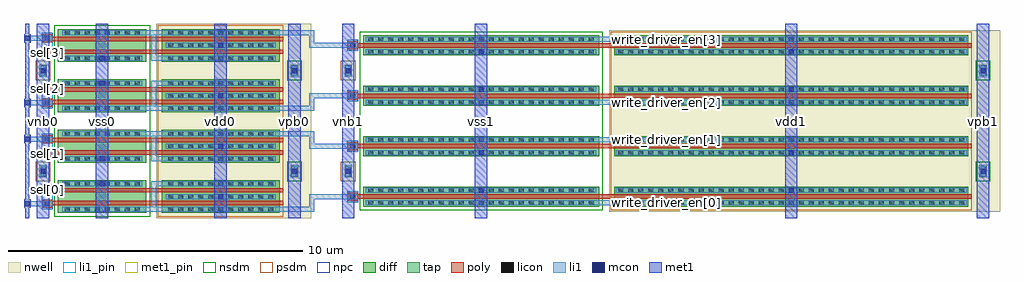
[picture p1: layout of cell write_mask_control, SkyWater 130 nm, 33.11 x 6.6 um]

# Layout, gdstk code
import gdstk
lib = gdstk.Library(unit=1e-6, precision=1e-09)
def R(c, l, rs):  # rectangles x0, y0, x1, y1
    for r in rs: c.add(gdstk.rectangle(r[:2], r[2:], *l))
def A(c, l, x, y, w, h, nx, ny, dx, dy):  # array of equal rectangles
    R(c, l, [(x+i*dx, y+j*dy, x+i*dx+w, y+j*dy+h) for i in range(nx) for j in range(ny)])
nwell = (64, 20)
diff = (65, 20)
tap = (65, 44)
poly = (66, 20)
licon = (66, 44)
li1_pin = (67, 16)
li1 = (67, 20)
mcon = (67, 44)
met1_pin = (68, 16)
met1 = (68, 20)
nsdm = (93, 44)
psdm = (94, 20)
npc = (95, 20)

ntap_1x1v = lib.new_cell('ntap_1x1v')
R(ntap_1x1v, tap, [(-0.04,-0.12,0.21,0.29)])
R(ntap_1x1v, licon, [(0,0,0.17,0.17)])
R(ntap_1x1v, li1, [(0,-0.08,0.17,0.25)])
R(ntap_1x1v, nsdm, [(-0.165,-0.245,0.335,0.415)])

ptap_1x1v = lib.new_cell('ptap_1x1v')
R(ptap_1x1v, tap, [(-0.04,-0.12,0.21,0.29)])
R(ptap_1x1v, licon, [(0,0,0.17,0.17)])
R(ptap_1x1v, li1, [(0,-0.08,0.17,0.25)])
R(ptap_1x1v, psdm, [(-0.165,-0.245,0.335,0.415)])

viali_1x1v = lib.new_cell('viali_1x1v')
R(viali_1x1v, li1, [(0,0,0.17,0.17)])
R(viali_1x1v, mcon, [(0,0,0.17,0.17)])
R(viali_1x1v, met1, [(-0.03,-0.06,0.2,0.23)])

viali_1x1h = lib.new_cell('viali_1x1h')
R(viali_1x1h, li1, [(0,0,0.17,0.17)])
R(viali_1x1h, mcon, [(0,0,0.17,0.17)])
R(viali_1x1h, met1, [(-0.06,-0.03,0.23,0.2)])

write_mask_control_and2_ = lib.new_cell('write_mask_control_and2_array_nand_array_route')
R(write_mask_control_and2_, met1, [(-0.715,-0.18,-0.295,6.42), (1.29,-0.18,1.71,6.42), (5.31,-0.18,5.73,6.42), (7.815,-0.18,8.235,6.42)])
write_mask_control_and2_.add(gdstk.Reference(viali_1x1v, (7.94,1.325)))
write_mask_control_and2_.add(gdstk.Reference(viali_1x1v, (7.94,4.745)))
write_mask_control_and2_.add(gdstk.Reference(viali_1x1v, (-0.59,1.325)))
write_mask_control_and2_.add(gdstk.Reference(viali_1x1v, (-0.59,4.745)))
write_mask_control_and2_.add(gdstk.Reference(viali_1x1h, (5.435,0.47)))
write_mask_control_and2_.add(gdstk.Reference(viali_1x1h, (5.435,2.18)))
write_mask_control_and2_.add(gdstk.Reference(viali_1x1h, (5.435,3.89)))
write_mask_control_and2_.add(gdstk.Reference(viali_1x1h, (5.435,5.6)))
write_mask_control_and2_.add(gdstk.Reference(viali_1x1h, (1.415,0.9)))
write_mask_control_and2_.add(gdstk.Reference(viali_1x1h, (1.415,1.75)))
write_mask_control_and2_.add(gdstk.Reference(viali_1x1h, (1.415,4.32)))
write_mask_control_and2_.add(gdstk.Reference(viali_1x1h, (1.415,5.17)))

polyc_1x1h = lib.new_cell('polyc_1x1h')
R(polyc_1x1h, poly, [(-0.08,-0.05,0.25,0.22)])
R(polyc_1x1h, licon, [(0,0,0.17,0.17)])
R(polyc_1x1h, li1, [(-0.08,0,0.25,0.17)])
R(polyc_1x1h, npc, [(-0.1,-0.1,0.27,0.27)])

ndiffc_1x8h = lib.new_cell('ndiffc_1x8h')
R(ndiffc_1x8h, diff, [(-0.06,-0.04,2.61,0.21)])
A(ndiffc_1x8h, licon, 0, 0, 0.17, 0.17, 8, 1, 0.34, 0)
R(ndiffc_1x8h, li1, [(-0.08,0,2.63,0.17)])
R(ndiffc_1x8h, nsdm, [(-0.185,-0.165,2.735,0.335)])

pdiffc_1x11h = lib.new_cell('pdiffc_1x11h')
R(pdiffc_1x11h, nwell, [(-0.24,-0.22,3.81,0.39)])
R(pdiffc_1x11h, diff, [(-0.06,-0.04,3.63,0.21)])
A(pdiffc_1x11h, licon, 0, 0, 0.17, 0.17, 11, 1, 0.34, 0)
R(pdiffc_1x11h, li1, [(-0.08,0,3.65,0.17)])
R(pdiffc_1x11h, psdm, [(-0.185,-0.165,3.755,0.335)])

ptx__nmos_svt_3000_150_2 = lib.new_cell('ptx__nmos_svt_3000_150_2__pmos_svt_4000_150_2')
R(ptx__nmos_svt_3000_150_2, nwell, [(3.34,-0.18,7.7,1.29)])
R(ptx__nmos_svt_3000_150_2, diff, [(0,0,3,1.11), (3.52,0,7.52,1.11)])
R(ptx__nmos_svt_3000_150_2, poly, [(-0.19,0.265,7.65,0.415), (-0.19,0.695,7.65,0.845)])
R(ptx__nmos_svt_3000_150_2, nsdm, [(-0.125,-0.125,3.125,1.235)])
R(ptx__nmos_svt_3000_150_2, psdm, [(3.395,-0.125,7.645,1.235)])
R(ptx__nmos_svt_3000_150_2, npc, [(-0.54,0.13,-0.17,0.98)])
ptx__nmos_svt_3000_150_2.add(gdstk.Reference(polyc_1x1h, (-0.44,0.23)))
ptx__nmos_svt_3000_150_2.add(gdstk.Reference(polyc_1x1h, (-0.44,0.71)))
ptx__nmos_svt_3000_150_2.add(gdstk.Reference(ndiffc_1x8h, (0.225,0.04)))
ptx__nmos_svt_3000_150_2.add(gdstk.Reference(pdiffc_1x11h, (3.735,0.04)))
ptx__nmos_svt_3000_150_2.add(gdstk.Reference(pdiffc_1x11h, (3.735,0.47)))
ptx__nmos_svt_3000_150_2.add(gdstk.Reference(ndiffc_1x8h, (0.225,0.9)))
ptx__nmos_svt_3000_150_2.add(gdstk.Reference(pdiffc_1x11h, (3.735,0.9)))

c_write_mask_control_and2_ = lib.new_cell('write_mask_control_and2_nand')
R(c_write_mask_control_and2_, li1, [(3.17,0.04,3.34,1.07), (3.17,0.04,7.385,0.21), (0.145,0.9,7.385,1.07)])
c_write_mask_control_and2_.add(gdstk.Reference(ptx__nmos_svt_3000_150_2, (0,0)))

c_write_mask_control_and2__ = lib.new_cell('write_mask_control_and2_array_nand_array_array')
c_write_mask_control_and2__.add(gdstk.Reference(c_write_mask_control_and2_, (0,1.11), x_reflection=True))
c_write_mask_control_and2__.add(gdstk.Reference(c_write_mask_control_and2_, (0,1.71)))
c_write_mask_control_and2__.add(gdstk.Reference(c_write_mask_control_and2_, (0,4.53), x_reflection=True))
c_write_mask_control_and2__.add(gdstk.Reference(c_write_mask_control_and2_, (0,5.13)))

c_write_mask_control_and2___ = lib.new_cell('write_mask_control_and2_array_nand_array')
R(c_write_mask_control_and2___, nwell, [(3.34,-0.18,8.6,6.42)])
R(c_write_mask_control_and2___, met1_pin, [(-0.715,-0.18,-0.295,6.42), (1.29,-0.18,1.71,6.42), (5.31,-0.18,5.73,6.42), (7.815,-0.18,8.235,6.42)])
R(c_write_mask_control_and2___, nsdm, [(-0.125,-0.125,3.125,6.365)])
R(c_write_mask_control_and2___, psdm, [(3.395,-0.125,7.645,6.365)])
c_write_mask_control_and2___.add(gdstk.Reference(ntap_1x1v, (7.94,1.325)))
c_write_mask_control_and2___.add(gdstk.Reference(ntap_1x1v, (7.94,4.745)))
c_write_mask_control_and2___.add(gdstk.Reference(ptap_1x1v, (-0.59,1.325)))
c_write_mask_control_and2___.add(gdstk.Reference(ptap_1x1v, (-0.59,4.745)))
c_write_mask_control_and2___.add(gdstk.Reference(write_mask_control_and2_, (0,0)))
c_write_mask_control_and2___.add(gdstk.Reference(c_write_mask_control_and2__, (0,0)))
c_write_mask_control_and2___.add(gdstk.Label('vpb', (8.025,3.12), layer=68, texttype=16))
c_write_mask_control_and2___.add(gdstk.Label('vnb', (-0.505,3.12), layer=68, texttype=16))
c_write_mask_control_and2___.add(gdstk.Label('vdd', (5.52,3.12), layer=68, texttype=16))
c_write_mask_control_and2___.add(gdstk.Label('vss', (1.5,3.12), layer=68, texttype=16))

c_write_mask_control_and2____ = lib.new_cell('write_mask_control_and2_array_inv_array_route')
R(c_write_mask_control_and2____, met1, [(-0.715,-0.18,-0.295,5.99), (3.79,-0.18,4.21,5.99), (14.31,-0.18,14.73,5.99), (20.815,-0.18,21.235,5.99)])
c_write_mask_control_and2____.add(gdstk.Reference(viali_1x1v, (20.94,1.11)))
c_write_mask_control_and2____.add(gdstk.Reference(viali_1x1v, (20.94,4.53)))
c_write_mask_control_and2____.add(gdstk.Reference(viali_1x1v, (-0.59,1.11)))
c_write_mask_control_and2____.add(gdstk.Reference(viali_1x1v, (-0.59,4.53)))
c_write_mask_control_and2____.add(gdstk.Reference(viali_1x1h, (14.435,0.47)))
c_write_mask_control_and2____.add(gdstk.Reference(viali_1x1h, (14.435,1.75)))
c_write_mask_control_and2____.add(gdstk.Reference(viali_1x1h, (14.435,3.89)))
c_write_mask_control_and2____.add(gdstk.Reference(viali_1x1h, (14.435,5.17)))
c_write_mask_control_and2____.add(gdstk.Reference(viali_1x1h, (3.915,0.47)))
c_write_mask_control_and2____.add(gdstk.Reference(viali_1x1h, (3.915,1.75)))
c_write_mask_control_and2____.add(gdstk.Reference(viali_1x1h, (3.915,3.89)))
c_write_mask_control_and2____.add(gdstk.Reference(viali_1x1h, (3.915,5.17)))

ndiffc_1x23h = lib.new_cell('ndiffc_1x23h')
R(ndiffc_1x23h, diff, [(-0.06,-0.04,7.71,0.21)])
A(ndiffc_1x23h, licon, 0, 0, 0.17, 0.17, 23, 1, 0.34, 0)
R(ndiffc_1x23h, li1, [(-0.08,0,7.73,0.17)])
R(ndiffc_1x23h, nsdm, [(-0.185,-0.165,7.835,0.335)])

pdiffc_1x35h = lib.new_cell('pdiffc_1x35h')
R(pdiffc_1x35h, nwell, [(-0.24,-0.22,11.97,0.39)])
R(pdiffc_1x35h, diff, [(-0.06,-0.04,11.79,0.21)])
A(pdiffc_1x35h, licon, 0, 0, 0.17, 0.17, 35, 1, 0.34, 0)
R(pdiffc_1x35h, li1, [(-0.08,0,11.81,0.17)])
R(pdiffc_1x35h, psdm, [(-0.185,-0.165,11.915,0.335)])

ptx__nmos_svt_8000_150_1 = lib.new_cell('ptx__nmos_svt_8000_150_1__pmos_svt_12000_150_1')
R(ptx__nmos_svt_8000_150_1, nwell, [(8.34,-0.18,20.7,0.86)])
R(ptx__nmos_svt_8000_150_1, diff, [(0,0,8,0.68), (8.52,0,20.52,0.68)])
R(ptx__nmos_svt_8000_150_1, poly, [(-0.19,0.265,20.65,0.415)])
R(ptx__nmos_svt_8000_150_1, nsdm, [(-0.125,-0.125,8.125,0.805)])
R(ptx__nmos_svt_8000_150_1, psdm, [(8.395,-0.125,20.645,0.805)])
R(ptx__nmos_svt_8000_150_1, npc, [(-0.54,0.155,-0.17,0.525)])
ptx__nmos_svt_8000_150_1.add(gdstk.Reference(polyc_1x1h, (-0.44,0.255)))
ptx__nmos_svt_8000_150_1.add(gdstk.Reference(ndiffc_1x23h, (0.175,0.04)))
ptx__nmos_svt_8000_150_1.add(gdstk.Reference(pdiffc_1x35h, (8.655,0.04)))
ptx__nmos_svt_8000_150_1.add(gdstk.Reference(ndiffc_1x23h, (0.175,0.47)))
ptx__nmos_svt_8000_150_1.add(gdstk.Reference(pdiffc_1x35h, (8.655,0.47)))

c_write_mask_control_and2_____ = lib.new_cell('write_mask_control_and2_inv')
R(c_write_mask_control_and2_____, li1, [(0.095,0.47,20.465,0.64)])
c_write_mask_control_and2_____.add(gdstk.Reference(ptx__nmos_svt_8000_150_1, (0,0)))

c_write_mask_control_and2______ = lib.new_cell('write_mask_control_and2_array_inv_array_array')
c_write_mask_control_and2______.add(gdstk.Reference(c_write_mask_control_and2_____, (0,0.68), x_reflection=True))
c_write_mask_control_and2______.add(gdstk.Reference(c_write_mask_control_and2_____, (0,1.71)))
c_write_mask_control_and2______.add(gdstk.Reference(c_write_mask_control_and2_____, (0,4.1), x_reflection=True))
c_write_mask_control_and2______.add(gdstk.Reference(c_write_mask_control_and2_____, (0,5.13)))

c_write_mask_control_and2_______ = lib.new_cell('write_mask_control_and2_array_inv_array')
R(c_write_mask_control_and2_______, nwell, [(8.34,-0.18,21.6,5.99)])
R(c_write_mask_control_and2_______, met1_pin, [(-0.715,-0.18,-0.295,5.99), (3.79,-0.18,4.21,5.99), (14.31,-0.18,14.73,5.99), (20.815,-0.18,21.235,5.99)])
R(c_write_mask_control_and2_______, nsdm, [(-0.125,-0.125,8.125,5.935)])
R(c_write_mask_control_and2_______, psdm, [(8.395,-0.125,20.645,5.935)])
c_write_mask_control_and2_______.add(gdstk.Reference(ntap_1x1v, (20.94,1.11)))
c_write_mask_control_and2_______.add(gdstk.Reference(ntap_1x1v, (20.94,4.53)))
c_write_mask_control_and2_______.add(gdstk.Reference(ptap_1x1v, (-0.59,1.11)))
c_write_mask_control_and2_______.add(gdstk.Reference(ptap_1x1v, (-0.59,4.53)))
c_write_mask_control_and2_______.add(gdstk.Reference(c_write_mask_control_and2____, (0,0)))
c_write_mask_control_and2_______.add(gdstk.Reference(c_write_mask_control_and2______, (0,0)))
c_write_mask_control_and2_______.add(gdstk.Label('vpb', (21.025,2.905), layer=68, texttype=16))
c_write_mask_control_and2_______.add(gdstk.Label('vnb', (-0.505,2.905), layer=68, texttype=16))
c_write_mask_control_and2_______.add(gdstk.Label('vdd', (14.52,2.905), layer=68, texttype=16))
c_write_mask_control_and2_______.add(gdstk.Label('vss', (4,2.905), layer=68, texttype=16))

c_write_mask_control_and2________ = lib.new_cell('write_mask_control_and2_array_route')
A(c_write_mask_control_and2________, li1, 8.695, 0.47, 1.14, 0.17, 1, 4, 0, 1.71)
R(c_write_mask_control_and2________, li1, [(0.145,0.04,7.385,0.21), (7.385,0.04,8.525,0.21), (8.525,0.04,8.695,0.64), (8.525,2.18,8.695,2.78), (0.145,2.61,7.385,2.78), (7.385,2.61,8.525,2.78), (0.145,3.46,7.385,3.63), (7.385,3.46,8.525,3.63), (8.525,3.46,8.695,4.06), (8.525,5.6,8.695,6.2), (0.145,6.03,7.385,6.2), (7.385,6.03,8.525,6.2)])

c_write_mask_control_and2_________ = lib.new_cell('write_mask_control_and2_array')
R(c_write_mask_control_and2_________, li1_pin, [(0.145,0.04,7.385,0.21), (-0.52,0.23,-0.19,0.4), (10.45,0.255,30.82,0.425), (-0.52,0.71,-0.19,0.88), (-0.52,1.94,-0.19,2.11), (10.45,2.395,30.82,2.565), (-0.52,2.42,-0.19,2.59), (0.145,2.61,7.385,2.78), (0.145,3.46,7.385,3.63), (-0.52,3.65,-0.19,3.82), (10.45,3.675,30.82,3.845), (-0.52,4.13,-0.19,4.3), (-0.52,5.36,-0.19,5.53), (10.45,5.815,30.82,5.985), (-0.52,5.84,-0.19,6.01), (0.145,6.03,7.385,6.2)])
R(c_write_mask_control_and2_________, met1_pin, [(-0.715,-0.18,-0.295,6.42), (1.29,-0.18,1.71,6.42), (5.31,-0.18,5.73,6.42), (7.815,-0.18,8.235,6.42), (9.64,0.035,10.06,6.205), (14.145,0.035,14.565,6.205), (24.665,0.035,25.085,6.205), (31.17,0.035,31.59,6.205)])
c_write_mask_control_and2_________.add(gdstk.Reference(c_write_mask_control_and2___, (0,0)))
c_write_mask_control_and2_________.add(gdstk.Reference(c_write_mask_control_and2_______, (10.355,0.215)))
c_write_mask_control_and2_________.add(gdstk.Reference(c_write_mask_control_and2________, (0,0)))
c_write_mask_control_and2_________.add(gdstk.Label('a[0]', (-0.355,0.795), layer=67, texttype=16))
c_write_mask_control_and2_________.add(gdstk.Label('b[0]', (-0.355,0.315), layer=67, texttype=16))
c_write_mask_control_and2_________.add(gdstk.Label('y_b[0]', (3.765,0.125), layer=67, texttype=16))
c_write_mask_control_and2_________.add(gdstk.Label('y[0]', (20.635,0.34), layer=67, texttype=16))
c_write_mask_control_and2_________.add(gdstk.Label('a[1]', (-0.355,2.025), layer=67, texttype=16))
c_write_mask_control_and2_________.add(gdstk.Label('b[1]', (-0.355,2.505), layer=67, texttype=16))
c_write_mask_control_and2_________.add(gdstk.Label('y_b[1]', (3.765,2.695), layer=67, texttype=16))
c_write_mask_control_and2_________.add(gdstk.Label('y[1]', (20.635,2.48), layer=67, texttype=16))
c_write_mask_control_and2_________.add(gdstk.Label('a[2]', (-0.355,4.215), layer=67, texttype=16))
c_write_mask_control_and2_________.add(gdstk.Label('b[2]', (-0.355,3.735), layer=67, texttype=16))
c_write_mask_control_and2_________.add(gdstk.Label('y_b[2]', (3.765,3.545), layer=67, texttype=16))
c_write_mask_control_and2_________.add(gdstk.Label('y[2]', (20.635,3.76), layer=67, texttype=16))
c_write_mask_control_and2_________.add(gdstk.Label('a[3]', (-0.355,5.445), layer=67, texttype=16))
c_write_mask_control_and2_________.add(gdstk.Label('b[3]', (-0.355,5.925), layer=67, texttype=16))
c_write_mask_control_and2_________.add(gdstk.Label('y_b[3]', (3.765,6.115), layer=67, texttype=16))
c_write_mask_control_and2_________.add(gdstk.Label('y[3]', (20.635,5.9), layer=67, texttype=16))
c_write_mask_control_and2_________.add(gdstk.Label('vdd0', (5.52,3.12), layer=68, texttype=16))
c_write_mask_control_and2_________.add(gdstk.Label('vss0', (1.5,3.12), layer=68, texttype=16))
c_write_mask_control_and2_________.add(gdstk.Label('vnb0', (-0.505,3.12), layer=68, texttype=16))
c_write_mask_control_and2_________.add(gdstk.Label('vpb0', (8.025,3.12), layer=68, texttype=16))
c_write_mask_control_and2_________.add(gdstk.Label('vdd1', (24.875,3.12), layer=68, texttype=16))
c_write_mask_control_and2_________.add(gdstk.Label('vss1', (14.355,3.12), layer=68, texttype=16))
c_write_mask_control_and2_________.add(gdstk.Label('vnb1', (9.85,3.12), layer=68, texttype=16))
c_write_mask_control_and2_________.add(gdstk.Label('vpb1', (31.38,3.12), layer=68, texttype=16))

write_mask_control_route = lib.new_cell('write_mask_control_route')
R(write_mask_control_route, li1, [(-1.105,0.23,-0.35,0.4), (-0.52,0.23,-0.19,0.4), (-1.105,2.42,-0.35,2.59), (-0.52,2.42,-0.19,2.59), (-1.105,3.65,-0.35,3.82), (-0.52,3.65,-0.19,3.82), (-1.105,5.84,-0.35,6.01), (-0.52,5.84,-0.19,6.01)])
write_mask_control_route.add(gdstk.Reference(viali_1x1v, (-1.12,0.23)))
write_mask_control_route.add(gdstk.Reference(viali_1x1v, (-1.12,2.42)))
write_mask_control_route.add(gdstk.Reference(viali_1x1v, (-1.12,3.65)))
write_mask_control_route.add(gdstk.Reference(viali_1x1v, (-1.12,5.84)))

write_mask_control = lib.new_cell('write_mask_control')
R(write_mask_control, li1_pin, [(10.45,0.255,30.82,0.425), (-0.52,0.71,-0.19,0.88), (-0.52,1.94,-0.19,2.11), (10.45,2.395,30.82,2.565), (10.45,3.675,30.82,3.845), (-0.52,4.13,-0.19,4.3), (-0.52,5.36,-0.19,5.53), (10.45,5.815,30.82,5.985)])
R(write_mask_control, met1_pin, [(-1.105,-0.18,-0.965,6.42), (-0.715,-0.18,-0.295,6.42), (1.29,-0.18,1.71,6.42), (5.31,-0.18,5.73,6.42), (7.815,-0.18,8.235,6.42), (9.64,-0.18,10.06,6.42), (14.145,-0.18,14.565,6.42), (24.665,-0.18,25.085,6.42), (31.17,-0.18,31.59,6.42)])
R(write_mask_control, met1, [(-1.105,-0.18,-0.965,6.42), (-0.715,-0.18,-0.295,6.42), (1.29,-0.18,1.71,6.42), (5.31,-0.18,5.73,6.42), (7.815,-0.18,8.235,6.42), (9.64,-0.18,10.06,6.42), (14.145,-0.18,14.565,6.42), (24.665,-0.18,25.085,6.42), (31.17,-0.18,31.59,6.42)])
write_mask_control.add(gdstk.Reference(c_write_mask_control_and2_________, (0,0)))
write_mask_control.add(gdstk.Reference(write_mask_control_route, (0,0)))
write_mask_control.add(gdstk.Label('vnb0', (-0.505,3.12), layer=68, texttype=16))
write_mask_control.add(gdstk.Label('vss0', (1.5,3.12), layer=68, texttype=16))
write_mask_control.add(gdstk.Label('vdd0', (5.52,3.12), layer=68, texttype=16))
write_mask_control.add(gdstk.Label('vpb0', (8.025,3.12), layer=68, texttype=16))
write_mask_control.add(gdstk.Label('vnb1', (9.85,3.12), layer=68, texttype=16))
write_mask_control.add(gdstk.Label('vss1', (14.355,3.12), layer=68, texttype=16))
write_mask_control.add(gdstk.Label('vdd1', (24.875,3.12), layer=68, texttype=16))
write_mask_control.add(gdstk.Label('vpb1', (31.38,3.12), layer=68, texttype=16))
write_mask_control.add(gdstk.Label('sel[0]', (-0.355,0.795), layer=67, texttype=16))
write_mask_control.add(gdstk.Label('write_driver_en[0]', (20.635,0.34), layer=67, texttype=16))
write_mask_control.add(gdstk.Label('sel[1]', (-0.355,2.025), layer=67, texttype=16))
write_mask_control.add(gdstk.Label('write_driver_en[1]', (20.635,2.48), layer=67, texttype=16))
write_mask_control.add(gdstk.Label('sel[2]', (-0.355,4.215), layer=67, texttype=16))
write_mask_control.add(gdstk.Label('write_driver_en[2]', (20.635,3.76), layer=67, texttype=16))
write_mask_control.add(gdstk.Label('sel[3]', (-0.355,5.445), layer=67, texttype=16))
write_mask_control.add(gdstk.Label('write_driver_en[3]', (20.635,5.9), layer=67, texttype=16))
write_mask_control.add(gdstk.Label('wr_en', (-1.035,3.12), layer=68, texttype=16))

lib.write_gds('write_mask_control.gds')
